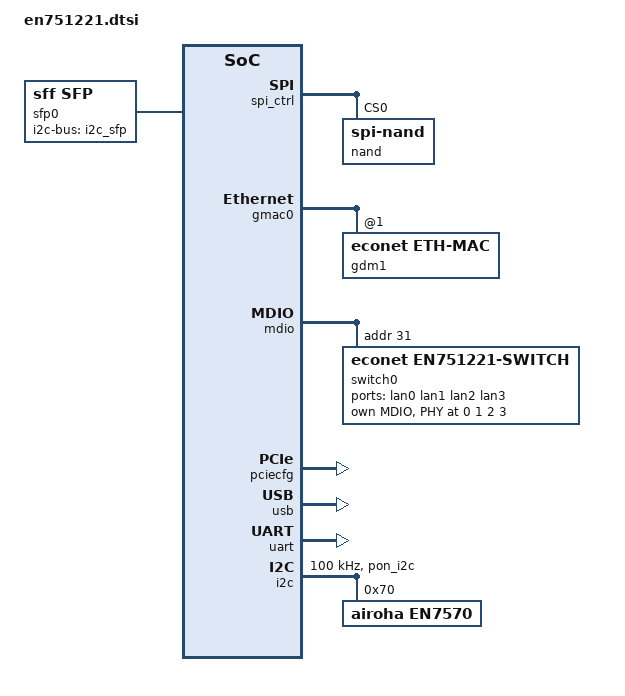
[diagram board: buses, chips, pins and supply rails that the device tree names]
// SPDX-License-Identifier: (GPL-2.0-only OR BSD-2-Clause)

#include <dt-bindings/reset/econet,en751221-scu.h>
#include <dt-bindings/clock/econet,en751221-scu.h>

/dts-v1/;

/ {
	compatible = "econet,en751221";
	#address-cells = <1>;
	#size-cells = <1>;

	hpt_clock: clock {
		compatible = "fixed-clock";
		#clock-cells = <0>;
		clock-frequency = <200000000>;  /* 200 MHz */
	};

	cpus: cpus {
		#address-cells = <1>;
		#size-cells = <0>;

		cpu@0 {
			device_type = "cpu";
			compatible = "mips,mips34Kc";
			reg = <0>;
		};
	};

	cpuintc: interrupt-controller {
		compatible = "mti,cpu-interrupt-controller";
		interrupt-controller;
		#address-cells = <0>;
		#interrupt-cells = <1>;
	};

	spi_ctrl: spi_controller@1fa10000 {
		compatible = "airoha,en7523-spi";
		reg = <0x1fa10000 0x140>;
		#address-cells = <1>;
		#size-cells = <0>;
		spi-rx-bus-width = <2>;
		spi-tx-bus-width = <2>;

		nand: nand@0 {
			compatible = "spi-nand";
			reg = <0>;
			nand-ecc-engine = <&nand>;
		};
	};

	chip_scu: syscon@1fa20000 {
		compatible = "econet,en751221-chip-scu", "syscon";
		reg = <0x1fa20000 0x388>;
	};

	pcie_phy1: pcie-phy@1fac0000 {
		compatible = "econet,en751221-pcie-phy1";
		reg = <0x1fac0000 0x1000>;
		#phy-cells = <0>;
	};

	pcie_phy0: pcie-phy@1faf2000 {
		compatible = "econet,en751221-pcie-phy0";
		reg = <0x1faf2000 0x1000>;
		#phy-cells = <0>;
	};

	intc: interrupt-controller@1fb40000 {
		compatible = "econet,en751221-intc";
		reg = <0x1fb40000 0x100>;
		interrupt-parent = <&cpuintc>;
		interrupts = <2>;

		interrupt-controller;
		#interrupt-cells = <1>;
		econet,shadow-interrupts = <7 2>, <8 3>, <13 12>, <30 29>;
	};

	scuclk: clock-controller@1fb00000 {
		compatible = "econet,en751221-scu", "syscon";
		reg = <0x1fb00000 0x970>;
		#clock-cells = <1>;
		#reset-cells = <1>;
	};

	pinctrl_syscon: system-controller@1fbf0200 {
		compatible = "syscon", "simple-mfd";
		reg = <0x1fbf0200 0x100>;

		en751221_pinctrl: pinctrl {
			compatible = "econet,en751221-pinctrl";

			interrupt-parent = <&intc>;
			interrupts = <10>;

			gpio-controller;
			#gpio-cells = <2>;

			interrupt-controller;
			#interrupt-cells = <1>;
			gpio-ranges = <&en751221_pinctrl 0 13 29>;

			i2c_pins: i2c-pins {
				mux {
					function = "pon_i2c";
					groups = "pon_i2c";
				};
			};
		};
	};

	gmac0: ethernet: ethernet@1fb50000 {
		compatible = "econet,en751221-eth";
		/*
		 * The econet_eth (airoha-derived) driver maps the Frame Engine
		 * and the two QDMA engines as separate named resources.
		 */
		reg = <0x1fb50000 0x2600>,
		      <0x1fb54000 0x2000>,
		      <0x1fb55000 0x2000>;
		reg-names = "fe", "qdma0", "qdma1";

		resets = <&scuclk EN751221_FE_RST>,
			 <&scuclk EN751221_FE_QDMA1_RST>,
			 <&scuclk EN751221_FE_QDMA2_RST>,
			 <&scuclk EN751221_GSW_RST>,
			 <&scuclk EN751221_XPON_MAC_RST>,
			 <&scuclk EN751221_XPON_PHY_RST>;
		reset-names = "fe", "qdma0", "qdma1", "gsw",
			      "xpon-mac", "xpon-phy";

		#address-cells = <1>;
		#size-cells = <0>;

		interrupt-parent = <&intc>;
		interrupts = <21>, <22>;

		/*
		 * GDM ports: id 1 is the LAN GDM (DSA conduit to the switch),
		 * id 2 is the WAN GDM.
		 */
		gdm1: ethernet@1 {
			compatible = "econet,eth-mac";
			reg = <1>;
			phy-mode = "trgmii";

			fixed-link {
				speed = <1000>;
				full-duplex;
				pause;
			};
		};

		gdm2: ethernet@2 {
			compatible = "econet,eth-mac";
			reg = <2>;
			phy-mode = "rgmii-rxid";
			status = "disabled";
		};

	};

	/*
	 * EN751221 nested dual-MT7530: the on-die switch (MMIO, ID_EN751221)
	 * only wires the cascade port5 (TRGMII to the MCM) and the CPU port6
	 * (to GDM1); the MCM switch (MDIO @ 0x1f, ID_EN751221_EXT) carries the
	 * four user LAN ports + their PHYs.
	 */
	switch: switch@1fb58000 {
		compatible = "econet,en751221-switch";
		reg = <0x1fb58000 0x8000>;
		resets = <&scuclk EN751221_GSW_RST>;
		#address-cells = <1>;
		#size-cells = <0>;
		dsa,member = <0 0>;

		interrupt-controller;
		#interrupt-cells = <1>;
		interrupt-parent = <&intc>;
		interrupts = <15>;

		ports {
			#address-cells = <1>;
			#size-cells = <0>;

			ondie_port5: port@5 {
				reg = <5>;
				phy-mode = "trgmii";
				link = <&mcm_port6>;

				fixed-link {
					speed = <1000>;
					full-duplex;
				};
			};

			port@6 {
				reg = <6>;
				label = "cpu";
				ethernet = <&gdm1>;
				phy-mode = "trgmii";

				fixed-link {
					speed = <1000>;
					full-duplex;
				};
			};
		};

		mdio {
			#address-cells = <1>;
			#size-cells = <0>;

			switch0: switch@1f {
				compatible = "econet,en751221-switch";
				reg = <0x1f>;
				mediatek,mcm;
				#address-cells = <1>;
				#size-cells = <0>;
				dsa,member = <0 1>;

				ports {
					#address-cells = <1>;
					#size-cells = <0>;

					port@0 {
						reg = <0>;
						label = "lan0";
						phy-handle = <&mcmphy0>;
					};

					port@1 {
						reg = <1>;
						label = "lan1";
						phy-handle = <&mcmphy1>;
					};

					port@2 {
						reg = <2>;
						label = "lan2";
						phy-handle = <&mcmphy2>;
					};

					port@3 {
						reg = <3>;
						label = "lan3";
						phy-handle = <&mcmphy3>;
					};

					mcm_port6: port@6 {
						reg = <6>;
						phy-mode = "trgmii";
						link = <&ondie_port5>;

						fixed-link {
							speed = <1000>;
							full-duplex;
						};
					};
				};

				mdio {
					#address-cells = <1>;
					#size-cells = <0>;

					mcmphy0: ethernet-phy@0 {
						reg = <0>;
					};
					mcmphy1: ethernet-phy@1 {
						reg = <1>;
					};
					mcmphy2: ethernet-phy@2 {
						reg = <2>;
					};
					mcmphy3: ethernet-phy@3 {
						reg = <3>;
					};
				};
			};
		};
	};

	pciecfg: pciecfg@1fb80000 {
		compatible = "mediatek,generic-pciecfg", "syscon";
		reg = <0x1fb80000 0x1000>;
	};

	pcie0: pcie@1fb81000 {
		compatible = "econet,en7528-pcie";
		device_type = "pci";
		reg = <0x1fb81000 0x1000>;
		reg-names = "port0";
		linux,pci-domain = <0>;
		#address-cells = <3>;
		#size-cells = <2>;
		interrupt-parent = <&intc>;
		interrupts = <23>;
		interrupt-names = "pcie_irq";
		clocks = <&scuclk EN751221_CLK_PCIE>;
		clock-names = "sys_ck0";
		phys = <&pcie_phy0>;
		phy-names = "pcie-phy0";
		bus-range = <0x00 0xff>;
		ranges = <0x01000000 0 0x00000000 0x1f600000 0 0x00008000>,
			 <0x82000000 0 0x20000000 0x20000000 0 0x08000000>;
		status = "disabled";

		#interrupt-cells = <1>;
		interrupt-map-mask = <0 0 0 7>;
		interrupt-map = <0 0 0 1 &pcie_intc0 0>,
				<0 0 0 2 &pcie_intc0 1>,
				<0 0 0 3 &pcie_intc0 2>,
				<0 0 0 4 &pcie_intc0 3>;

		pcie_intc0: interrupt-controller {
			interrupt-controller;
			#address-cells = <0>;
			#interrupt-cells = <1>;
		};

		slot0: pcie@0,0 {
			reg = <0x0000 0 0 0 0>;
			device_type = "pci";
			#address-cells = <3>;
			#size-cells = <2>;
			ranges;
		};
	};

	pcie1: pcie@1fb83000 {
		compatible = "econet,en7528-pcie";
		device_type = "pci";
		reg = <0x1fb83000 0x1000>;
		reg-names = "port1";
		linux,pci-domain = <1>;
		#address-cells = <3>;
		#size-cells = <2>;
		interrupt-parent = <&intc>;
		interrupts = <24>;
		interrupt-names = "pcie_irq";
		clocks = <&scuclk EN751221_CLK_PCIE>;
		clock-names = "sys_ck1";
		phys = <&pcie_phy1>;
		phy-names = "pcie-phy1";
		bus-range = <0x00 0xff>;
		ranges = <0x81000000 0 0x00000000 0x1f608000 0 0x00008000>,
			 <0x82000000 0 0x28000000 0x28000000 0 0x08000000>;
		status = "disabled";

		#interrupt-cells = <1>;
		interrupt-map-mask = <0 0 0 7>;
		interrupt-map = <0 0 0 1 &pcie_intc1 0>,
				<0 0 0 2 &pcie_intc1 1>,
				<0 0 0 3 &pcie_intc1 2>,
				<0 0 0 4 &pcie_intc1 3>;

		pcie_intc1: interrupt-controller {
			interrupt-controller;
			#address-cells = <0>;
			#interrupt-cells = <1>;
		};

		slot1: pcie@1,0 {
			reg = <0x0800 0 0 0 0>;
			#address-cells = <3>;
			#size-cells = <2>;
			ranges;
		};
	};

    usb: usb@1fb90000 {
            compatible = "mediatek,mt8173-xhci", "mediatek,mtk-xhci";
            reg = <0x1fb90000 0x4000>,
                  <0x1fa80700 0x100>;
            reg-names = "mac", "ippc";

            #address-cells = <1>;
            #size-cells = <0>;

            interrupt-parent = <&intc>;
            interrupts = <17>;
            usb3-lpm-capable;
    };

	uart: serial@1fbf0000 {
		compatible = "ns16550";
		reg = <0x1fbf0000 0x30>;
		reg-io-width = <4>;
		reg-shift = <2>;
		interrupt-parent = <&intc>;
		interrupts = <0>;
		/*
		 * Conversion of baud rate to clock frequency requires a
		 * computation that is not in the ns16550 driver, so this
		 * uart is fixed at 115200 baud.
		 */
		clock-frequency = <1843200>;
	};

	timer_hpt: timer@1fbf0400 {
		compatible = "econet,en751221-timer";
		reg = <0x1fbf0400 0x100>;

		interrupt-parent = <&intc>;
		interrupts = <30>;
		clocks = <&hpt_clock>;
	};

	i2cclock: i2cclock {
		#clock-cells = <0>;
		compatible = "fixed-clock";
		/* 20 MHz */
		clock-frequency = <20000000>;
	};

	i2c: i2c@1fbf8000 {
		compatible = "mediatek,mt7621-i2c";
		reg = <0x1fbf8000 0x100>;

		clocks = <&i2cclock>;

		/* 100 kHz */
		clock-frequency = <100000>;
		#address-cells = <1>;
		#size-cells = <0>;

		pinctrl-names = "default";
		pinctrl-0 = <&i2c_pins>;

		status = "okay";

		/*
		 * EN7570 xPON LDDLA (laser-diode driver + limiting amplifier).
		 * Its control interface lives on this real MT7621-compatible
		 * I2C bus; the driver additionally publishes the module's
		 * SFF-8472 diagnostics as an emulated SFP on its own exported
		 * virtual i2c bus (the i2c-sfp child below).
		 */
		en7570: lddla@70 {
			compatible = "airoha,en7570";
			reg = <0x70>;

			/*
			 * Virtual SFP i2c bus exported by the LDDLA driver
			 * (of_node). The emulated module answers ROM 0x50 /
			 * DDM 0x51; another driver (e.g. the sfp node below)
			 * can attach to this bus and those addresses.
			 */
			i2c_sfp: i2c-sfp {
				#address-cells = <1>;
				#size-cells = <0>;
			};
		};
	};

	/*
	 * The emulated SFP module, read over the LDDLA driver's exported
	 * virtual i2c bus, so phylink/ethtool see the soldered-down EN7570
	 * optics as a standard SFP.
	 */
	sfp0: sfp {
		compatible = "sff,sfp";
		i2c-bus = <&i2c_sfp>;
	};

	/*
	 * xPON MAC (shared 0x1fb60000 block, GPON and EPON are mutually
	 * exclusive modes). Both attach to the emulated SFP (&sfp0). A board
	 * enables the one matching its optics. NB the interrupt line is a
	 * placeholder - confirm the XPON MAC IRQ on silicon.
	 */
	gpon: gpon@1fb60000 {
		compatible = "econet,en751221-gpon";
		reg = <0x1fb60000 0x10000>;
		interrupt-parent = <&intc>;
		interrupts = <25>;
		sfp = <&sfp0>;
		status = "disabled";
	};

	epon: epon@1fb60000 {
		compatible = "econet,en751221-epon";
		reg = <0x1fb60000 0x10000>;
		interrupt-parent = <&intc>;
		interrupts = <25>;
		sfp = <&sfp0>;
		status = "disabled";
	};
};
